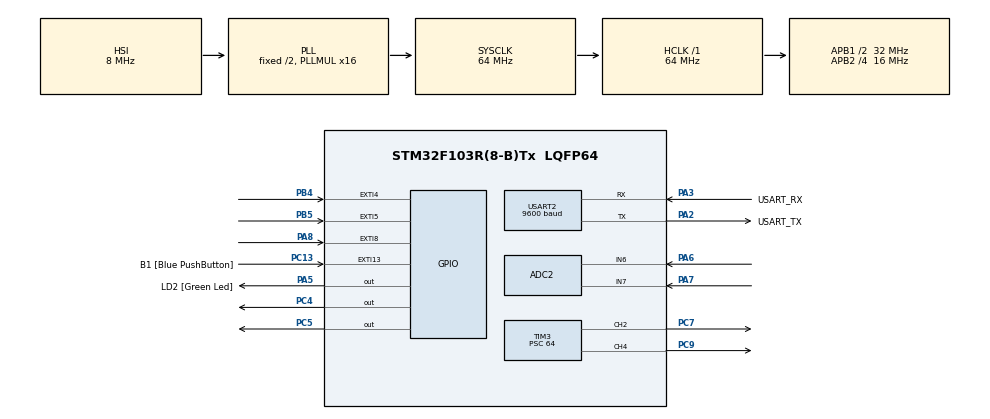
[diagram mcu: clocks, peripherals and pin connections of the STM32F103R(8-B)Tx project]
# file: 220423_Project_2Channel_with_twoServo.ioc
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ADC2.Channel-0\#ChannelRegularConversion=ADC_CHANNEL_6
ADC2.Channel-1\#ChannelRegularConversion=ADC_CHANNEL_7
ADC2.DiscontinuousConvMode=ENABLE
ADC2.NbrOfConversion=2
ADC2.NbrOfConversionFlag=1
ADC2.Rank-0\#ChannelRegularConversion=1
ADC2.Rank-1\#ChannelRegularConversion=2
ADC2.SamplingTime-0\#ChannelRegularConversion=ADC_SAMPLETIME_239CYCLES_5
ADC2.SamplingTime-1\#ChannelRegularConversion=ADC_SAMPLETIME_239CYCLES_5
Mcu.Family=STM32F1
Mcu.Name=STM32F103R(8-B)Tx
Mcu.Package=LQFP64
NVIC.EXTI15_10_IRQn=true\:0\:0\:false\:false\:true\:true\:true\:true
NVIC.EXTI4_IRQn=true\:0\:0\:false\:false\:true\:true\:true\:true
NVIC.EXTI9_5_IRQn=true\:0\:0\:false\:false\:true\:true\:true\:true
NVIC.PriorityGroup=NVIC_PRIORITYGROUP_4
PA13.GPIO_Label=TMS
PA13.Mode=Serial_Wire
PA13.Signal=SYS_JTMS-SWDIO
PA14.GPIO_Label=TCK
PA14.Mode=Serial_Wire
PA14.Signal=SYS_JTCK-SWCLK
PA2.GPIO_Label=USART_TX
PA2.GPIO_Mode=GPIO_MODE_AF_PP
PA2.GPIO_PuPd=GPIO_NOPULL
PA2.GPIO_Speed=GPIO_SPEED_FREQ_LOW
PA2.Mode=Asynchronous
PA2.Signal=USART2_TX
PA3.GPIO_Label=USART_RX
PA3.GPIO_Mode=GPIO_MODE_AF_PP
PA3.GPIO_PuPd=GPIO_NOPULL
PA3.GPIO_Speed=GPIO_SPEED_FREQ_LOW
PA3.Mode=Asynchronous
PA3.Signal=USART2_RX
PA5.GPIO_Label=LD2 [Green Led]
PA5.GPIO_ModeDefaultOutputPP=GPIO_MODE_OUTPUT_PP
PA5.GPIO_PuPd=GPIO_NOPULL
PA5.GPIO_Speed=GPIO_SPEED_FREQ_LOW
PA5.Signal=GPIO_Output
PA6.Signal=ADCx_IN6
PA7.Signal=ADCx_IN7
PA8.Signal=GPXTI8
PB3.GPIO_Label=SWO
PB3.Signal=SYS_JTDO-TRACESWO
PB4.Signal=GPXTI4
PB5.Signal=GPXTI5
PC13-TAMPER-RTC.GPIO_Label=B1 [Blue PushButton]
PC13-TAMPER-RTC.GPIO_PuPd=GPIO_NOPULL
PC13-TAMPER-RTC.Signal=GPXTI13
PC14-OSC32_IN.Mode=LSE-External-Oscillator
PC14-OSC32_IN.Signal=RCC_OSC32_IN
PC15-OSC32_OUT.Mode=LSE-External-Oscillator
PC15-OSC32_OUT.Signal=RCC_OSC32_OUT
PC4.Signal=GPIO_Output
PC5.Signal=GPIO_Output
PC7.Signal=S_TIM3_CH2
PC9.Signal=S_TIM3_CH4
PD0-OSC_IN.Mode=HSE-External-Clock-Source
PD0-OSC_IN.Signal=RCC_OSC_IN
PD1-OSC_OUT.Mode=HSE-External-Clock-Source
PD1-OSC_OUT.Signal=RCC_OSC_OUT
ProjectManager.HeapSize=0x200
ProjectManager.StackSize=0x400
ProjectManager.TargetToolchain=STM32CubeIDE
RCC.AHBFreq_Value=64000000
RCC.APB1CLKDivider=RCC_HCLK_DIV2
RCC.APB1Freq_Value=32000000
RCC.APB1TimFreq_Value=64000000
RCC.APB2CLKDivider=RCC_HCLK_DIV4
RCC.APB2Freq_Value=16000000
RCC.APB2TimFreq_Value=32000000
RCC.HCLKFreq_Value=64000000
RCC.PLLMUL=RCC_PLL_MUL16
RCC.RTCClockSelection=RCC_RTCCLKSOURCE_LSE
RCC.SYSCLKFreq_VALUE=64000000
RCC.SYSCLKSource=RCC_SYSCLKSOURCE_PLLCLK
RCC.USBFreq_Value=64000000
SH.ADCx_IN6.0=ADC2_IN6,IN6
SH.ADCx_IN7.0=ADC2_IN7,IN7
SH.S_TIM3_CH2.0=TIM3_CH2,PWM Generation2 CH2
SH.S_TIM3_CH4.0=TIM3_CH4,PWM Generation4 CH4
TIM3.Channel-PWM\ Generation2\ CH2=TIM_CHANNEL_2
TIM3.Channel-PWM\ Generation4\ CH4=TIM_CHANNEL_4
TIM3.Period=20000
TIM3.Prescaler=64
USART2.BaudRate=9600
USART2.VirtualMode=VM_ASYNC
board=NUCLEO-F103RB

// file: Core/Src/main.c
/* USER CODE BEGIN Header */
/**
  ******************************************************************************
  * @file           : main.c
  * @brief          : Main program body
  ******************************************************************************
  * @attention
  *
  * Copyright (c) 2022 STMicroelectronics.
  * All rights reserved.
  *
  * This software is licensed under terms that can be found in the LICENSE file
  * in the root directory of this software component.
  * If no LICENSE file comes with this software, it is provided AS-IS.
  *
  ******************************************************************************
  */
/* USER CODE END Header */
#include "main.h"

/* USER CODE BEGIN Includes */
#include "stdio.h"
/* USER CODE END Includes */

/* USER CODE BEGIN PTD */
#ifdef __GNUC__
/* With GCC, small printf (option LD Linker->Libraries->Small printf
   set to 'Yes') calls __io_putchar() */
#define PUTCHAR_PROTOTYPE int __io_putchar(int ch)
#else
#define PUTCHAR_PROTOTYPE int fputc(int ch, FILE *f)
#endif /* __GNUC__ */
/* USER CODE END PTD */

 ADC_HandleTypeDef hadc2;

TIM_HandleTypeDef htim3;

UART_HandleTypeDef huart2;

void SystemClock_Config(void);
static void MX_GPIO_Init(void);
static void MX_USART2_UART_Init(void);
static void MX_ADC2_Init(void);
static void MX_TIM3_Init(void);

/* USER CODE BEGIN 0 */
int state[2][1000] = {0};
int compare = 0;
int idx = 0;
int angle1 = 0;
int angle2 = 0;
int preVal1;
int preVal2;
/* USER CODE END 0 */

int main(void)
{
  /* USER CODE BEGIN 1 */
	uint32_t adcResult1 = 0;
	uint32_t adcResult2 = 0;
  /* USER CODE END 1 */

  /* MCU Configuration--------------------------------------------------------*/

  /* Reset of all peripherals, Initializes the Flash interface and the Systick. */
  HAL_Init();

  /* Configure the system clock */
  SystemClock_Config();

  /* Initialize all configured peripherals */
  MX_GPIO_Init();
  MX_USART2_UART_Init();
  MX_ADC2_Init();
  MX_TIM3_Init();
  /* USER CODE BEGIN 2 */
  HAL_TIM_PWM_Start(&htim3, TIM_CHANNEL_2);
  HAL_TIM_PWM_Start(&htim3, TIM_CHANNEL_4);
  /* USER CODE END 2 */

  /* Infinite loop */
  /* USER CODE BEGIN WHILE */
  while (1)
  {
	  	  if(compare ==0){
	  		  if(state[0][0] >0){
	  			  for(int jdx= 0 ; jdx<2; jdx++){

	  				  for(int kdx = 0; kdx<1000; kdx++){
	  					state[jdx][kdx] = -1;
	  				  }
	  			  }
	  			  idx = 0;
	  		  }

	  		  HAL_ADC_Start(&hadc2);
	  		  HAL_ADC_PollForConversion(&hadc2, 100); // adc값을 받아?��?��까�? ??�???????.
	  		  int nowVal1 = HAL_ADC_GetValue(&hadc2)*20/12;
	  		  if(nowVal1 >=preVal1+ 10 ||nowVal1 <=preVal1- 10)
	  			  preVal1 = HAL_ADC_GetValue(&hadc2)*20/12;

	  		  //adcResult1 = HAL_ADC_GetValue(&hadc2)*20/12; // 0~4095 // 2048 ~3000?
	  		  adcResult1 = preVal1;
	  		  HAL_Delay(10);
	  		  HAL_ADC_Start(&hadc2);
	  		  HAL_ADC_PollForConversion(&hadc2, 100); // adc값을 받아?��?��까�? ??�???????.
	  		  int nowVal2 = HAL_ADC_GetValue(&hadc2)*20/12;
	  		  if(nowVal2 >=preVal2+ 10 ||nowVal2 <=preVal2- 10)
	  			  preVal2 = HAL_ADC_GetValue(&hadc2)*20/12;
	  		  //adcResult2 = HAL_ADC_GetValue(&hadc2)*20/12; // 0~4095 // 2048 ~3000?
	  		  adcResult2 = preVal2;
	  		  HAL_Delay(10);

	  		  if(adcResult1<1024){
	  			 angle1 = 1500-(1024-adcResult1);
	  		  }
	  		  else{
	  			 angle1 = 1500 + adcResult1-1024;
	  		  }

	  		  if(adcResult1<1024){
	  			  angle2 = 1500-(1024-adcResult2);
	  		  }
	  		  else{
	  			  angle2 = 1500 + adcResult2-1024;
	  		  }

	  		htim3.Instance->CCR2 = angle1;
	  		htim3.Instance->CCR4 = angle2;

	  		printf("angle 1 : %d        angle 2 : %d\n\r",angle1,angle2);

	  	  }

	  	  else if(compare ==1){
	  		  /*HAL_ADC_Start(&hadc2);
	  		  HAL_ADC_PollForConversion(&hadc2, 100); // adc값을 받아?��?��까�? ??�???????.
	  		  adcResult1 = HAL_ADC_GetValue(&hadc2)/2; // 0~4095 // 2048 ~3000?
	  		//  HAL_Delay(10);
	  		  HAL_ADC_Start(&hadc2);
	  		  HAL_ADC_PollForConversion(&hadc2, 100); // adc값을 받아?��?��까�? ??�???????.
	  		  adcResult2 = HAL_ADC_GetValue(&hadc2)/2; // 0~4095 // 2048 ~3000?

	  		  if(adcResult1<1024){
	  			 angle1 = 1500-(1024-adcResult1);
	  		  }
	  		  else{
	  			 angle1 = 1500 + adcResult1-1024;
	  		  }

	  		  if(adcResult1<1024){
	  			  angle2 = 1500-(1024-adcResult2);
	  		  }
	  		  else{
	  			  angle2 = 1500 + adcResult2-1024;
	  		  }
	  		  htim3.Instance->CCR2 = angle1;
	  		  htim3.Instance->CCR4 = angle2;
	  		  printf("store....\n\r\n\r");

	  		  state[0][idx]= angle1;
	  		  state[1][idx++]= angle2;

	  		  if(idx==num1){
	  			  compare =0;
	  		  }

	  		  HAL_Delay(50);*/
	  		HAL_ADC_Start(&hadc2);
	  			  		  HAL_ADC_PollForConversion(&hadc2, 100); // adc값을 받아?��?��까�? ??�???????.
	  			  		  int nowVal1 = HAL_ADC_GetValue(&hadc2)*20/12;
	  			  		  if(nowVal1 >=preVal1+ 10 ||nowVal1 <=preVal1- 10)
	  			  			  preVal1 = HAL_ADC_GetValue(&hadc2)*20/12;

	  			  		  //adcResult1 = HAL_ADC_GetValue(&hadc2)*20/12; // 0~4095 // 2048 ~3000?
	  			  		  adcResult1 = preVal1;
	  			  		  HAL_Delay(10);
	  			  		  HAL_ADC_Start(&hadc2);
	  			  		  HAL_ADC_PollForConversion(&hadc2, 100); // adc값을 받아?��?��까�? ??�???????.
	  			  		  int nowVal2 = HAL_ADC_GetValue(&hadc2)*20/12;
	  			  		  if(nowVal2 >=preVal2+ 10 ||nowVal2 <=preVal2- 10)
	  			  			  preVal2 = HAL_ADC_GetValue(&hadc2)*20/12;
	  			  		  //adcResult2 = HAL_ADC_GetValue(&hadc2)*20/12; // 0~4095 // 2048 ~3000?
	  			  		  adcResult2 = preVal2;
	  			  		  HAL_Delay(10);

	  			  		  if(adcResult1<1024){
	  			  			 angle1 = 1500-(1024-adcResult1);
	  			  		  }
	  			  		  else{
	  			  			 angle1 = 1500 + adcResult1-1024;
	  			  		  }

	  			  		  if(adcResult1<1024){
	  			  			  angle2 = 1500-(1024-adcResult2);
	  			  		  }
	  			  		  else{
	  			  			  angle2 = 1500 + adcResult2-1024;
	  			  		  }

	  			  		htim3.Instance->CCR2 = angle1;
	  			  		htim3.Instance->CCR4 = angle2;
	  			  	printf("store....\n\r\n\r");

	  			  		  		  state[0][idx]= angle1;
	  			  		  		  state[1][idx++]= angle2;

	  			  		  		  HAL_Delay(50);
	  	  }

	  	  else if(compare ==2){
	  		  for(int jdx = 0; jdx< idx; jdx++){
	  			  printf("replay....\n\r\n\r");
	  			  htim3.Instance->CCR2 = state[0][jdx];
	  			  htim3.Instance->CCR4 = state[1][jdx];
	  			  HAL_Delay(50);
	  		  }
	  	  }
    /* USER CODE END WHILE */

  }
}

void SystemClock_Config(void)
{
  RCC_OscInitTypeDef RCC_OscInitStruct = {0};
  RCC_ClkInitTypeDef RCC_ClkInitStruct = {0};
  RCC_PeriphCLKInitTypeDef PeriphClkInit = {0};

  /** Initializes the RCC Oscillators according to the specified parameters
  * in the RCC_OscInitTypeDef structure.
  */
  RCC_OscInitStruct.OscillatorType = RCC_OSCILLATORTYPE_HSI;
  RCC_OscInitStruct.HSIState = RCC_HSI_ON;
  RCC_OscInitStruct.HSICalibrationValue = RCC_HSICALIBRATION_DEFAULT;
  RCC_OscInitStruct.PLL.PLLState = RCC_PLL_ON;
  RCC_OscInitStruct.PLL.PLLSource = RCC_PLLSOURCE_HSI_DIV2;
  RCC_OscInitStruct.PLL.PLLMUL = RCC_PLL_MUL16;
  if (HAL_RCC_OscConfig(&RCC_OscInitStruct) != HAL_OK)
  {
    Error_Handler();
  }

  /** Initializes the CPU, AHB and APB buses clocks
  */
  RCC_ClkInitStruct.ClockType = RCC_CLOCKTYPE_HCLK|RCC_CLOCKTYPE_SYSCLK
                              |RCC_CLOCKTYPE_PCLK1|RCC_CLOCKTYPE_PCLK2;
  RCC_ClkInitStruct.SYSCLKSource = RCC_SYSCLKSOURCE_PLLCLK;
  RCC_ClkInitStruct.AHBCLKDivider = RCC_SYSCLK_DIV1;
  RCC_ClkInitStruct.APB1CLKDivider = RCC_HCLK_DIV2;
  RCC_ClkInitStruct.APB2CLKDivider = RCC_HCLK_DIV4;

  if (HAL_RCC_ClockConfig(&RCC_ClkInitStruct, FLASH_LATENCY_2) != HAL_OK)
  {
    Error_Handler();
  }
  PeriphClkInit.PeriphClockSelection = RCC_PERIPHCLK_ADC;
  PeriphClkInit.AdcClockSelection = RCC_ADCPCLK2_DIV2;
  if (HAL_RCCEx_PeriphCLKConfig(&PeriphClkInit) != HAL_OK)
  {
    Error_Handler();
  }
}

static void MX_ADC2_Init(void)
{

  ADC_ChannelConfTypeDef sConfig = {0};

  /** Common config
  */
  hadc2.Instance = ADC2;
  hadc2.Init.ScanConvMode = ADC_SCAN_ENABLE;
  hadc2.Init.ContinuousConvMode = DISABLE;
  hadc2.Init.DiscontinuousConvMode = ENABLE;
  hadc2.Init.NbrOfDiscConversion = 1;
  hadc2.Init.ExternalTrigConv = ADC_SOFTWARE_START;
  hadc2.Init.DataAlign = ADC_DATAALIGN_RIGHT;
  hadc2.Init.NbrOfConversion = 2;
  if (HAL_ADC_Init(&hadc2) != HAL_OK)
  {
    Error_Handler();
  }

  /** Configure Regular Channel
  */
  sConfig.Channel = ADC_CHANNEL_6;
  sConfig.Rank = ADC_REGULAR_RANK_1;
  sConfig.SamplingTime = ADC_SAMPLETIME_239CYCLES_5;
  if (HAL_ADC_ConfigChannel(&hadc2, &sConfig) != HAL_OK)
  {
    Error_Handler();
  }

  /** Configure Regular Channel
  */
  sConfig.Channel = ADC_CHANNEL_7;
  sConfig.Rank = ADC_REGULAR_RANK_2;
  if (HAL_ADC_ConfigChannel(&hadc2, &sConfig) != HAL_OK)
  {
    Error_Handler();
  }

}

static void MX_TIM3_Init(void)
{

  TIM_MasterConfigTypeDef sMasterConfig = {0};
  TIM_OC_InitTypeDef sConfigOC = {0};

  htim3.Instance = TIM3;
  htim3.Init.Prescaler = 64;
  htim3.Init.CounterMode = TIM_COUNTERMODE_UP;
  htim3.Init.Period = 20000;
  htim3.Init.ClockDivision = TIM_CLOCKDIVISION_DIV1;
  htim3.Init.AutoReloadPreload = TIM_AUTORELOAD_PRELOAD_DISABLE;
  if (HAL_TIM_PWM_Init(&htim3) != HAL_OK)
  {
    Error_Handler();
  }
  sMasterConfig.MasterOutputTrigger = TIM_TRGO_RESET;
  sMasterConfig.MasterSlaveMode = TIM_MASTERSLAVEMODE_DISABLE;
  if (HAL_TIMEx_MasterConfigSynchronization(&htim3, &sMasterConfig) != HAL_OK)
  {
    Error_Handler();
  }
  sConfigOC.OCMode = TIM_OCMODE_PWM1;
  sConfigOC.Pulse = 0;
  sConfigOC.OCPolarity = TIM_OCPOLARITY_HIGH;
  sConfigOC.OCFastMode = TIM_OCFAST_DISABLE;
  if (HAL_TIM_PWM_ConfigChannel(&htim3, &sConfigOC, TIM_CHANNEL_2) != HAL_OK)
  {
    Error_Handler();
  }
  if (HAL_TIM_PWM_ConfigChannel(&htim3, &sConfigOC, TIM_CHANNEL_4) != HAL_OK)
  {
    Error_Handler();
  }
  HAL_TIM_MspPostInit(&htim3);

}

static void MX_USART2_UART_Init(void)
{

  huart2.Instance = USART2;
  huart2.Init.BaudRate = 9600;
  huart2.Init.WordLength = UART_WORDLENGTH_8B;
  huart2.Init.StopBits = UART_STOPBITS_1;
  huart2.Init.Parity = UART_PARITY_NONE;
  huart2.Init.Mode = UART_MODE_TX_RX;
  huart2.Init.HwFlowCtl = UART_HWCONTROL_NONE;
  huart2.Init.OverSampling = UART_OVERSAMPLING_16;
  if (HAL_UART_Init(&huart2) != HAL_OK)
  {
    Error_Handler();
  }

}

static void MX_GPIO_Init(void)
{
  GPIO_InitTypeDef GPIO_InitStruct = {0};

  /* GPIO Ports Clock Enable */
  __HAL_RCC_GPIOC_CLK_ENABLE();
  __HAL_RCC_GPIOD_CLK_ENABLE();
  __HAL_RCC_GPIOA_CLK_ENABLE();
  __HAL_RCC_GPIOB_CLK_ENABLE();

  /*Configure GPIO pin Output Level */
  HAL_GPIO_WritePin(LD2_GPIO_Port, LD2_Pin, GPIO_PIN_RESET);

  /*Configure GPIO pin Output Level */
  HAL_GPIO_WritePin(GPIOC, GPIO_PIN_4|GPIO_PIN_5, GPIO_PIN_RESET);

  /*Configure GPIO pin : B1_Pin */
  GPIO_InitStruct.Pin = B1_Pin;
  GPIO_InitStruct.Mode = GPIO_MODE_IT_RISING;
  GPIO_InitStruct.Pull = GPIO_NOPULL;
  HAL_GPIO_Init(B1_GPIO_Port, &GPIO_InitStruct);

  /*Configure GPIO pin : LD2_Pin */
  GPIO_InitStruct.Pin = LD2_Pin;
  GPIO_InitStruct.Mode = GPIO_MODE_OUTPUT_PP;
  GPIO_InitStruct.Pull = GPIO_NOPULL;
  GPIO_InitStruct.Speed = GPIO_SPEED_FREQ_LOW;
  HAL_GPIO_Init(LD2_GPIO_Port, &GPIO_InitStruct);

  /*Configure GPIO pins : PC4 PC5 */
  GPIO_InitStruct.Pin = GPIO_PIN_4|GPIO_PIN_5;
  GPIO_InitStruct.Mode = GPIO_MODE_OUTPUT_PP;
  GPIO_InitStruct.Pull = GPIO_NOPULL;
  GPIO_InitStruct.Speed = GPIO_SPEED_FREQ_LOW;
  HAL_GPIO_Init(GPIOC, &GPIO_InitStruct);

  /*Configure GPIO pin : PA8 */
  GPIO_InitStruct.Pin = GPIO_PIN_8;
  GPIO_InitStruct.Mode = GPIO_MODE_IT_RISING;
  GPIO_InitStruct.Pull = GPIO_NOPULL;
  HAL_GPIO_Init(GPIOA, &GPIO_InitStruct);

  /*Configure GPIO pins : PB4 PB5 */
  GPIO_InitStruct.Pin = GPIO_PIN_4|GPIO_PIN_5;
  GPIO_InitStruct.Mode = GPIO_MODE_IT_RISING;
  GPIO_InitStruct.Pull = GPIO_NOPULL;
  HAL_GPIO_Init(GPIOB, &GPIO_InitStruct);

  /* EXTI interrupt init*/
  HAL_NVIC_SetPriority(EXTI4_IRQn, 0, 0);
  HAL_NVIC_EnableIRQ(EXTI4_IRQn);

  HAL_NVIC_SetPriority(EXTI9_5_IRQn, 0, 0);
  HAL_NVIC_EnableIRQ(EXTI9_5_IRQn);

  HAL_NVIC_SetPriority(EXTI15_10_IRQn, 0, 0);
  HAL_NVIC_EnableIRQ(EXTI15_10_IRQn);

}

/* USER CODE BEGIN 4 */
PUTCHAR_PROTOTYPE
{
  /* Place your implementation of fputc here */
  /* e.g. write a character to the USART1 and Loop until the end of transmission */
  HAL_UART_Transmit(&huart2,(uint8_t *)&ch, 1, 0xFFFF);

  return ch;
}

void HAL_GPIO_EXTI_Callback(uint16_t GPIO_Pin){

	if(GPIO_Pin == GPIO_PIN_8){
		compare =0;
	}
	if(GPIO_Pin == GPIO_PIN_4){
		compare = 1;
		HAL_GPIO_WritePin(GPIOC,GPIO_PIN_4,GPIO_PIN_SET);
		HAL_GPIO_WritePin(GPIOC,GPIO_PIN_5,GPIO_PIN_RESET);
	}
	if(GPIO_Pin == GPIO_PIN_5){
		compare = 2;
		HAL_GPIO_WritePin(GPIOC,GPIO_PIN_5,GPIO_PIN_SET);
		HAL_GPIO_WritePin(GPIOC,GPIO_PIN_4,GPIO_PIN_RESET);
	}
}
/* USER CODE END 4 */

void Error_Handler(void)
{
  __disable_irq();
  while (1)
  {
  }
}
